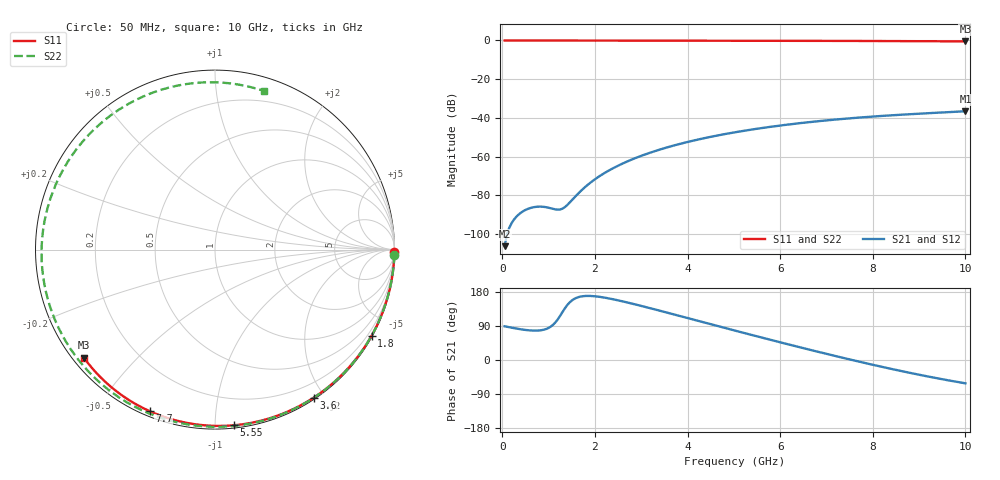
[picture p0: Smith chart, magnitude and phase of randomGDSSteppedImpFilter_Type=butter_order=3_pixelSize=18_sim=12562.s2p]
! freq	dB(S11)	phase(S11)	dB(S12)	phase(S12)
!  dB(S21)	phase(S21)	dB(S22)	phase(S22)
!S-par simulation data
#  GHz  S  DB  R 50
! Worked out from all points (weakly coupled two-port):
!   200 points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, 50 MHz to 10 GHz, reference 50 ohm
!   highest |S21| = -36.56 dB at 10 GHz (marker M1); lowest = -106.2 dB at 50 MHz (marker M2)
!   lowest |S11| = -0.5 dB at 10 GHz (marker M3), VSWR 36.55, Z = 1.54 - j17.9 ohm
!   |S11| at or under -10 dB: nowhere
!   |S22| runs from -0.7 to 0.0 dB; largest |S21 - S12| = 0
!   S11 on the Smith chart (normalised r, x): 50 MHz: open; 1.8 GHz: 0.03, -3.89; 3.6 GHz: 0.02, -1.87; 5.55 GHz: 0.02, -1.11; 7.7 GHz: 0.02, -0.67; 10 GHz: 0.03, -0.36
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0.05  -0.00 -0.8  -106.23 89.0  -106.23 89.0  -0.00 -1.7
0.8  -0.02 -12.9  -85.81 78.0  -85.81 78.0  -0.03 -26.0
1.6  -0.03 -25.7  -80.00 164.0  -80.00 164.0  -0.06 -51.2
1.75  -0.04 -28.1  -76.50 168.5  -76.50 168.5  -0.07 -55.8
1.8  -0.04 -28.8  -75.44 169.0  -75.44 169.0  -0.07 -57.3
2.1  -0.04 -33.5  -70.06 166.7  -70.06 166.7  -0.08 -66.3
2.45  -0.05 -39.0  -65.26 158.8  -65.26 158.8  -0.09 -76.6
2.9  -0.06 -45.8  -60.49 145.8  -60.49 145.8  -0.11 -89.4
3.4  -0.07 -53.3  -56.35 130.2  -56.35 130.2  -0.13 -103.1
3.6  -0.08 -56.3  -54.94 123.7  -54.94 123.7  -0.14 -108.5
4.3  -0.09 -66.5  -50.77 101.0  -50.77 101.0  -0.17 -126.8
5.05  -0.12 -77.1  -47.31 76.8  -47.31 76.8  -0.21 -145.9
5.55  -0.14 -84.0  -45.42 60.8  -45.42 60.8  -0.24 -158.5
6.15  -0.16 -92.0  -43.49 42.1  -43.49 42.1  -0.28 -173.7
6.7  -0.19 -99.2  -41.99 25.2  -41.99 25.2  -0.32 172.1
7.2  -0.22 -105.7  -40.83 10.3  -40.83 10.3  -0.37 158.8
7.7  -0.26 -112.0  -39.83 -4.2  -39.83 -4.2  -0.41 145.1
8.35  -0.31 -120.2  -38.74 -22.2  -38.74 -22.2  -0.48 126.2
8.8  -0.35 -125.7  -38.09 -33.9  -38.09 -33.9  -0.53 112.4
9.2  -0.39 -130.7  -37.56 -43.7  -37.56 -43.7  -0.58 99.7
9.6  -0.43 -135.6  -37.06 -53.0  -37.06 -53.0  -0.63 86.4
10  -0.48 -140.5  -36.56 -61.6  -36.56 -61.6  -0.68 72.8
